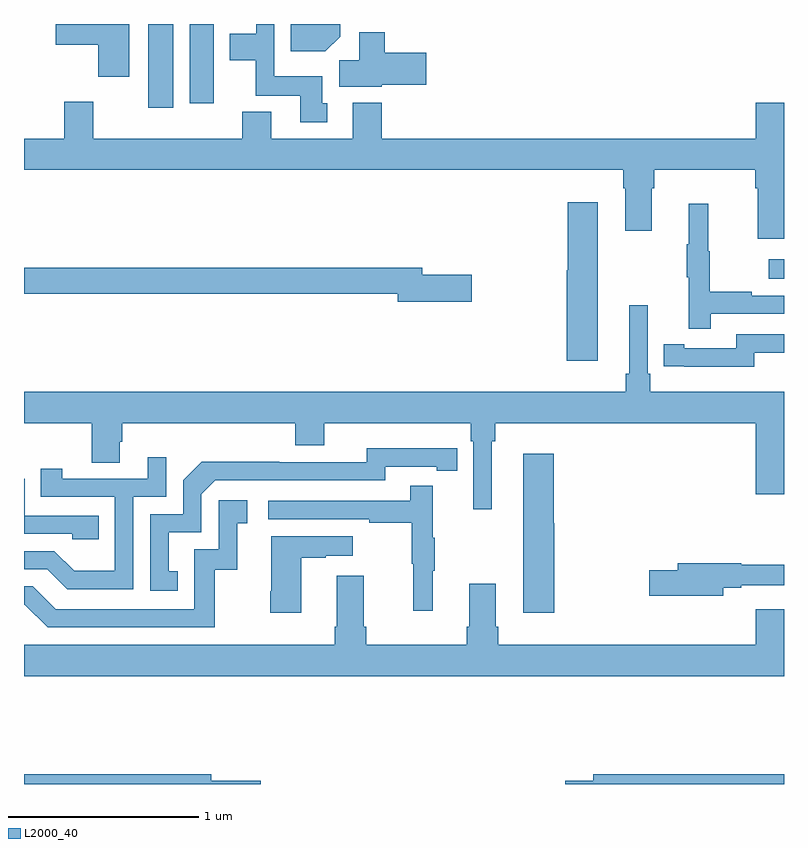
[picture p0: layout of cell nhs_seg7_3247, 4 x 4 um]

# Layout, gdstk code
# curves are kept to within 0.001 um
import gdstk
lib = gdstk.Library(unit=1e-6, precision=1e-09)
def R(c, l, rs):  # rectangles x0, y0, x1, y1
    for r in rs: c.add(gdstk.rectangle(r[:2], r[2:], *l))
def P(c, l, *ps):  # polygons
    for p in ps: c.add(gdstk.Polygon(p, *l))
L2000_40 = (2000, 40)

nhs_seg7_3247 = lib.new_cell('nhs_seg7_3247')
R(nhs_seg7_3247, L2000_40, [(320.919,1050.659,321,1050.763), (317.654,1051.56,317.785,1052), (317.873,1051.584,317.998,1052)])
P(nhs_seg7_3247, L2000_40, [(318.664,1051.934),(318.664,1052),(318.403,1052),(318.403,1051.856),(318.586,1051.856)],
  [(317.554,1052),(317.166,1052),(317.166,1051.891),(317.39,1051.891),(317.39,1051.722),(317.554,1051.722)],
  [(318.595,1051.584),(318.571,1051.584),(318.571,1051.726),(318.318,1051.726),(318.318,1052),(318.222,1052),(318.222,1051.948),(318.083,1051.948),(318.083,1051.808),(318.22,1051.808),(318.22,1051.622),(318.455,1051.622),(318.455,1051.482),(318.595,1051.482)],
  [(318.882,1051.679),(319.117,1051.679),(319.117,1051.85),(318.899,1051.85),(318.899,1051.957),(318.764,1051.957),(318.764,1051.808),(318.659,1051.808),(318.659,1051.67),(318.882,1051.67)],
  [(321,1051.585),(320.852,1051.585),(320.852,1051.396),(318.884,1051.396),(318.884,1051.585),(318.731,1051.585),(318.731,1051.396),(318.301,1051.396),(318.301,1051.537),(318.149,1051.537),(318.149,1051.396),(317.365,1051.396),(317.365,1051.591),(317.213,1051.591),(317.213,1051.396),(317,1051.396),(317,1051.232),(320.153,1051.232),(320.153,1051.136),(320.165,1051.136),(320.165,1050.912),(320.305,1050.912),(320.305,1051.136),(320.318,1051.136),(320.318,1051.232),(320.849,1051.232),(320.849,1051.136),(320.861,1051.136),(320.861,1050.87),(321,1050.87)],
  [(320.02,1051.063),(319.862,1051.063),(319.862,1050.705),(319.856,1050.705),(319.856,1050.228),(320.02,1050.228)],
  [(320.615,1050.474),(321,1050.474),(321,1050.57),(320.831,1050.57),(320.831,1050.59),(320.608,1050.59),(320.608,1050.804),(320.6,1050.804),(320.6,1051.054),(320.498,1051.054),(320.498,1050.841),(320.487,1050.841),(320.487,1050.667),(320.498,1050.667),(320.498,1050.396),(320.615,1050.396)],
  [(319.357,1050.68),(319.096,1050.68),(319.096,1050.716),(317,1050.716),(317,1050.58),(318.968,1050.58),(318.968,1050.538),(319.357,1050.538)],
  [(319.462,1049.804),(319.481,1049.804),(319.481,1049.9),(320.852,1049.9),(320.852,1049.526),(321,1049.526),(321,1050.064),(320.297,1050.064),(320.297,1050.16),(320.283,1050.16),(320.283,1050.52),(320.186,1050.52),(320.186,1050.16),(320.167,1050.16),(320.167,1050.064),(317,1050.064),(317,1049.9),(317.356,1049.9),(317.356,1049.692),(317.503,1049.692),(317.503,1049.802),(317.516,1049.802),(317.516,1049.9),(318.428,1049.9),(318.428,1049.783),(318.58,1049.783),(318.58,1049.9),(319.352,1049.9),(319.352,1049.804),(319.365,1049.804),(319.365,1049.445),(319.462,1049.445)],
  [(320.844,1050.27),(321,1050.27),(321,1050.366),(320.748,1050.366),(320.748,1050.294),(320.476,1050.294),(320.476,1050.314),(320.368,1050.314),(320.368,1050.198),(320.476,1050.198),(320.476,1050.197),(320.844,1050.197)],
  [(317.81,1049.121),(317.761,1049.121),(317.761,1049.325),(317.934,1049.325),(317.934,1049.526),(318.006,1049.598),(318.9,1049.598),(318.9,1049.67),(319.172,1049.67),(319.172,1049.65),(319.28,1049.65),(319.28,1049.766),(318.804,1049.767),(318.804,1049.694),(318.344,1049.694),(318.344,1049.696),(317.936,1049.696),(317.838,1049.598),(317.838,1049.421),(317.664,1049.421),(317.664,1049.016),(317.81,1049.016)],
  [(319.792,1049.373),(319.787,1049.373),(319.787,1049.737),(319.628,1049.737),(319.628,1048.902),(319.792,1048.902)],
  [(317.574,1049.511),(317.748,1049.511),(317.748,1049.719),(317.651,1049.719),(317.651,1049.607),(317.2,1049.607),(317.2,1049.659),(317.089,1049.659),(317.089,1049.511),(317.478,1049.511),(317.478,1049.122),(317.264,1049.122),(317.16,1049.226),(317,1049.226),(317,1049.13),(317.123,1049.13),(317.228,1049.025),(317.574,1049.025)],
  [(317.393,1049.412),(317.004,1049.412),(317.004,1049.607),(317,1049.607),(317,1049.316),(317.253,1049.316),(317.253,1049.289),(317.393,1049.289)],
  [(319.151,1049.123),(319.162,1049.123),(319.162,1049.297),(319.151,1049.297),(319.151,1049.569),(319.033,1049.569),(319.033,1049.49),(318.285,1049.49),(318.285,1049.394),(318.817,1049.394),(318.817,1049.374),(319.041,1049.374),(319.041,1049.16),(319.048,1049.16),(319.048,1048.911),(319.151,1048.911)],
  [(318.004,1049.127),(318.122,1049.127),(318.122,1049.373),(318.175,1049.373),(318.175,1049.494),(318.024,1049.494),(318.024,1049.235),(317.895,1049.235),(317.895,1048.92),(317.166,1048.92),(317.046,1049.04),(317,1049.04),(317,1048.944),(317.004,1048.944),(317.124,1048.824),(318.004,1048.824)],
  [(318.46,1049.191),(318.587,1049.191),(318.587,1049.201),(318.73,1049.201),(318.73,1049.305),(318.302,1049.305),(318.302,1049.014),(318.295,1049.014),(318.295,1048.902),(318.46,1048.902)],
  [(320.68,1049.034),(320.776,1049.034),(320.776,1049.046),(321,1049.046),(321,1049.155),(320.776,1049.155),(320.776,1049.162),(320.441,1049.162),(320.441,1049.126),(320.292,1049.126),(320.292,1048.991),(320.68,1048.991)],
  [(321,1048.921),(320.852,1048.921),(320.852,1048.732),(319.496,1048.732),(319.496,1048.828),(319.483,1048.828),(319.483,1049.053),(319.343,1049.053),(319.343,1048.828),(319.331,1048.828),(319.331,1048.732),(318.8,1048.732),(318.8,1048.828),(318.787,1048.828),(318.787,1049.095),(318.647,1049.095),(318.647,1048.828),(318.635,1048.828),(318.635,1048.732),(317,1048.732),(317,1048.568),(321,1048.568)],
  [(321,1048.052),(319.997,1048.052),(319.997,1048.016),(319.848,1048.016),(319.848,1048),(321,1048)],
  [(318.247,1048.016),(317.986,1048.016),(317.986,1048.052),(317,1048.052),(317,1048),(318.247,1048)])

lib.write_gds('nhs_seg7_3247.gds')
